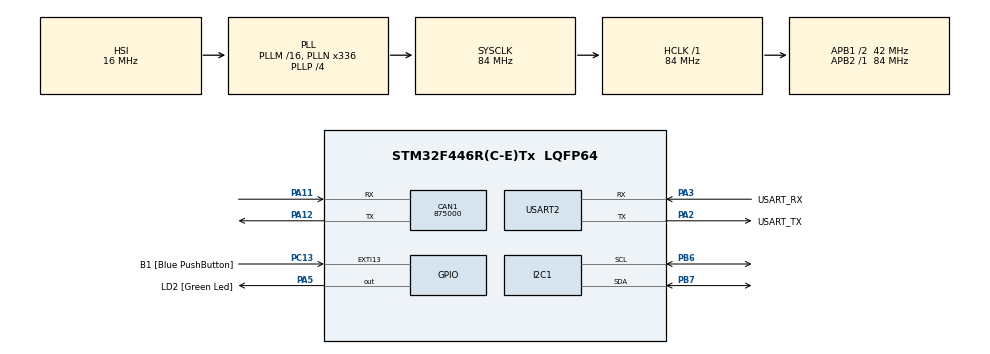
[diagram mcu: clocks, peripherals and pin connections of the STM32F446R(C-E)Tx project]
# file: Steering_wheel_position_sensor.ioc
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CAN1.CalculateBaudRate=875000
CAN1.CalculateTimeBit=1142
CAN1.CalculateTimeQuantum=380.95238095238096
Mcu.Family=STM32F4
Mcu.Name=STM32F446R(C-E)Tx
Mcu.Package=LQFP64
NVIC.PriorityGroup=NVIC_PRIORITYGROUP_0
PA11.Mode=CAN_Activate
PA11.Signal=CAN1_RX
PA12.Mode=CAN_Activate
PA12.Signal=CAN1_TX
PA13.GPIO_Label=TMS
PA13.Mode=Serial_Wire
PA13.Signal=SYS_JTMS-SWDIO
PA14.GPIO_Label=TCK
PA14.Mode=Serial_Wire
PA14.Signal=SYS_JTCK-SWCLK
PA2.GPIO_Label=USART_TX
PA2.Mode=Asynchronous
PA2.Signal=USART2_TX
PA3.GPIO_Label=USART_RX
PA3.Mode=Asynchronous
PA3.Signal=USART2_RX
PA5.GPIO_Label=LD2 [Green Led]
PA5.Signal=GPIO_Output
PB3.GPIO_Label=SWO
PB3.Signal=SYS_JTDO-SWO
PB6.Mode=I2C
PB6.Signal=I2C1_SCL
PB7.Mode=I2C
PB7.Signal=I2C1_SDA
PC13.GPIO_Label=B1 [Blue PushButton]
PC13.GPIO_ModeDefaultEXTI=GPIO_MODE_IT_FALLING
PC13.Signal=GPXTI13
PC14-OSC32_IN.Mode=LSE-External-Oscillator
PC14-OSC32_IN.Signal=RCC_OSC32_IN
PC15-OSC32_OUT.Mode=LSE-External-Oscillator
PC15-OSC32_OUT.Signal=RCC_OSC32_OUT
PH0-OSC_IN.Mode=HSE-External-Oscillator
PH0-OSC_IN.Signal=RCC_OSC_IN
PH1-OSC_OUT.Mode=HSE-External-Oscillator
PH1-OSC_OUT.Signal=RCC_OSC_OUT
ProjectManager.HeapSize=0x200
ProjectManager.StackSize=0x400
ProjectManager.TargetToolchain=STM32CubeIDE
RCC.48MHZClocksFreq_Value=84000000
RCC.AHBFreq_Value=84000000
RCC.APB1CLKDivider=RCC_HCLK_DIV2
RCC.APB1Freq_Value=42000000
RCC.APB1TimFreq_Value=84000000
RCC.APB2Freq_Value=84000000
RCC.APB2TimFreq_Value=84000000
RCC.CortexFreq_Value=84000000
RCC.FLatency-AdvancedSettings=FLASH_LATENCY_2
RCC.HCLKFreq_Value=84000000
RCC.HSE_VALUE=8000000
RCC.HSI_VALUE=16000000
RCC.PLLN=336
RCC.PLLP=RCC_PLLP_DIV4
RCC.SYSCLKFreq_VALUE=84000000
RCC.SYSCLKSource=RCC_SYSCLKSOURCE_PLLCLK
RCC.USBFreq_Value=168000000
RCC.VCOOutputFreq_Value=336000000
USART2.VirtualMode=VM_ASYNC
board=NUCLEO-F446RE

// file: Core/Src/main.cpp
/* USER CODE BEGIN Header */
/**
  ******************************************************************************
  * @file           : main.c
  * @brief          : Main program body
  ******************************************************************************
  * @attention
  *
  * Copyright (c) 2022 STMicroelectronics.
  * All rights reserved.
  *
  * This software is licensed under terms that can be found in the LICENSE file
  * in the root directory of this software component.
  * If no LICENSE file comes with this software, it is provided AS-IS.
  *
  ******************************************************************************
  */
/* USER CODE END Header */
#include "main.h"
#include <stdio.h>
#include <string.h>
#include "PUTM_EV_CAN_LIBRARY/lib/can_interface.hpp"

 CAN_HandleTypeDef hcan1;

I2C_HandleTypeDef hi2c1;

UART_HandleTypeDef huart2;

void SystemClock_Config(void);
static void MX_GPIO_Init(void);
static void MX_USART2_UART_Init(void);
static void MX_I2C1_Init(void);
static void MX_CAN1_Init(void);

/* USER CODE BEGIN 0 */
void SystemClock_Config(void);
static void MX_GPIO_Init(void);
static void MX_USART2_UART_Init(void);
static void MX_I2C1_Init(void);

/* USER CODE BEGIN PFP */

/* USER CODE END PFP */

/* Private user code ---------------------------------------------------------*/
/* USER CODE BEGIN 0 */

int getAngle(uint8_t AS5601_ADR, uint8_t TxData1, uint8_t TxData2, uint8_t LB_DATA, uint8_t HB_DATA, uint16_t COM_DATA, uint8_t DELAY){
	HAL_StatusTypeDef ret;

	// Request lower byte
	ret = HAL_I2C_Master_Transmit(&hi2c1, AS5601_ADR, &TxData1, 1, DELAY);
			if (ret != HAL_OK){
				Error_Handler();

			} else {
	ret = HAL_I2C_Master_Receive(&hi2c1, AS5601_ADR, &LB_DATA, 1, DELAY);
			if (ret != HAL_OK){
				Error_Handler();
			}
		  }

	// Request higher byte
	ret = HAL_I2C_Master_Transmit(&hi2c1, AS5601_ADR, &TxData2, 1, DELAY);
		  	if (ret != HAL_OK){
		  		Error_Handler();

		  } else {
	ret = HAL_I2C_Master_Receive(&hi2c1, AS5601_ADR, &HB_DATA, 1, DELAY);
			if (ret != HAL_OK){
				Error_Handler();
			}
		  }
	//Combine bytes
	COM_DATA = HB_DATA << 8;
	COM_DATA = COM_DATA | LB_DATA;

	return COM_DATA;

}
/* USER CODE END 0 */

int main(void)
{

  /* MCU Configuration--------------------------------------------------------*/

  /* Reset of all peripherals, Initializes the Flash interface and the Systick. */
  HAL_Init();

  /* Configure the system clock */
  SystemClock_Config();

  /* Initialize all configured peripherals */
  MX_GPIO_Init();
  MX_USART2_UART_Init();
  MX_I2C1_Init();
  MX_CAN1_Init();
  /* USER CODE BEGIN 2 */
  uint8_t buf[12];
  uint16_t angle;

  static const uint8_t AS5601_ADR = 0x36 << 1;
  uint8_t TxData1 = 0x0D;
  uint8_t TxData2 = 0x0C;

  uint8_t LB_DATA;
  uint8_t HB_DATA;
  uint16_t COM_DATA;
  uint8_t DELAY = 10;

  //uint8_t frameCounter = 0;

  /* USER CODE END 2 */

  /* Infinite loop */
  while (1)
  {

	  angle = getAngle(AS5601_ADR, TxData1, TxData2, LB_DATA, HB_DATA, COM_DATA, DELAY);

	  // Send out buffer
      sprintf((char*)buf, "%u \r\n", ((unsigned int)angle));
	  HAL_UART_Transmit(&huart2, buf, strlen((char*)buf), HAL_MAX_DELAY);

	  PUTM_CAN::SWPS_main swpsData{
	  	  .steeringAngle = angle,
	  };
	  PUTM_CAN::Can_tx_message <typeof(swpsData)> swpsFrame  (swpsData,PUTM_CAN::can_tx_header_SWPS_MAIN);
	  auto status = swpsFrame.send(hcan1);
	  if (status != HAL_StatusTypeDef::HAL_OK){
	  	  Error_Handler();
	  }

  }
}

void SystemClock_Config(void)
{
  RCC_OscInitTypeDef RCC_OscInitStruct = {0};
  RCC_ClkInitTypeDef RCC_ClkInitStruct = {0};

  /** Configure the main internal regulator output voltage
  */
  __HAL_RCC_PWR_CLK_ENABLE();
  __HAL_PWR_VOLTAGESCALING_CONFIG(PWR_REGULATOR_VOLTAGE_SCALE3);

  /** Initializes the RCC Oscillators according to the specified parameters
  * in the RCC_OscInitTypeDef structure.
  */
  RCC_OscInitStruct.OscillatorType = RCC_OSCILLATORTYPE_HSI;
  RCC_OscInitStruct.HSIState = RCC_HSI_ON;
  RCC_OscInitStruct.HSICalibrationValue = RCC_HSICALIBRATION_DEFAULT;
  RCC_OscInitStruct.PLL.PLLState = RCC_PLL_ON;
  RCC_OscInitStruct.PLL.PLLSource = RCC_PLLSOURCE_HSI;
  RCC_OscInitStruct.PLL.PLLM = 16;
  RCC_OscInitStruct.PLL.PLLN = 336;
  RCC_OscInitStruct.PLL.PLLP = RCC_PLLP_DIV4;
  RCC_OscInitStruct.PLL.PLLQ = 2;
  RCC_OscInitStruct.PLL.PLLR = 2;
  if (HAL_RCC_OscConfig(&RCC_OscInitStruct) != HAL_OK)
  {
    Error_Handler();
  }

  /** Initializes the CPU, AHB and APB buses clocks
  */
  RCC_ClkInitStruct.ClockType = RCC_CLOCKTYPE_HCLK|RCC_CLOCKTYPE_SYSCLK
                              |RCC_CLOCKTYPE_PCLK1|RCC_CLOCKTYPE_PCLK2;
  RCC_ClkInitStruct.SYSCLKSource = RCC_SYSCLKSOURCE_PLLCLK;
  RCC_ClkInitStruct.AHBCLKDivider = RCC_SYSCLK_DIV1;
  RCC_ClkInitStruct.APB1CLKDivider = RCC_HCLK_DIV2;
  RCC_ClkInitStruct.APB2CLKDivider = RCC_HCLK_DIV1;

  if (HAL_RCC_ClockConfig(&RCC_ClkInitStruct, FLASH_LATENCY_2) != HAL_OK)
  {
    Error_Handler();
  }
}

static void MX_I2C1_Init(void)
{

  hi2c1.Instance = I2C1;
  hi2c1.Init.ClockSpeed = 100000;
  hi2c1.Init.DutyCycle = I2C_DUTYCYCLE_2;
  hi2c1.Init.OwnAddress1 = 0;
  hi2c1.Init.AddressingMode = I2C_ADDRESSINGMODE_7BIT;
  hi2c1.Init.DualAddressMode = I2C_DUALADDRESS_DISABLE;
  hi2c1.Init.OwnAddress2 = 0;
  hi2c1.Init.GeneralCallMode = I2C_GENERALCALL_DISABLE;
  hi2c1.Init.NoStretchMode = I2C_NOSTRETCH_DISABLE;
  if (HAL_I2C_Init(&hi2c1) != HAL_OK)
  {
    Error_Handler();
  }

}

static void MX_USART2_UART_Init(void)
{

  huart2.Instance = USART2;
  huart2.Init.BaudRate = 115200;
  huart2.Init.WordLength = UART_WORDLENGTH_8B;
  huart2.Init.StopBits = UART_STOPBITS_1;
  huart2.Init.Parity = UART_PARITY_NONE;
  huart2.Init.Mode = UART_MODE_TX_RX;
  huart2.Init.HwFlowCtl = UART_HWCONTROL_NONE;
  huart2.Init.OverSampling = UART_OVERSAMPLING_16;
  if (HAL_UART_Init(&huart2) != HAL_OK)
  {
    Error_Handler();
  }

}

static void MX_GPIO_Init(void)
{
  GPIO_InitTypeDef GPIO_InitStruct = {0};

  /* GPIO Ports Clock Enable */
  __HAL_RCC_GPIOC_CLK_ENABLE();
  __HAL_RCC_GPIOH_CLK_ENABLE();
  __HAL_RCC_GPIOA_CLK_ENABLE();
  __HAL_RCC_GPIOB_CLK_ENABLE();

  /*Configure GPIO pin Output Level */
  HAL_GPIO_WritePin(LD2_GPIO_Port, LD2_Pin, GPIO_PIN_RESET);

  /*Configure GPIO pin : B1_Pin */
  GPIO_InitStruct.Pin = B1_Pin;
  GPIO_InitStruct.Mode = GPIO_MODE_IT_FALLING;
  GPIO_InitStruct.Pull = GPIO_NOPULL;
  HAL_GPIO_Init(B1_GPIO_Port, &GPIO_InitStruct);

  /*Configure GPIO pin : LD2_Pin */
  GPIO_InitStruct.Pin = LD2_Pin;
  GPIO_InitStruct.Mode = GPIO_MODE_OUTPUT_PP;
  GPIO_InitStruct.Pull = GPIO_NOPULL;
  GPIO_InitStruct.Speed = GPIO_SPEED_FREQ_LOW;
  HAL_GPIO_Init(LD2_GPIO_Port, &GPIO_InitStruct);

}

/* USER CODE BEGIN 4 */
static void MX_CAN1_Init(void)
{

  /* USER CODE BEGIN CAN1_Init 0 */

  /* USER CODE END CAN1_Init 0 */

  /* USER CODE BEGIN CAN1_Init 1 */

  /* USER CODE END CAN1_Init 1 */
  hcan1.Instance = CAN1;
  hcan1.Init.Prescaler = 16;
  hcan1.Init.Mode = CAN_MODE_NORMAL;
  hcan1.Init.SyncJumpWidth = CAN_SJW_1TQ;
  hcan1.Init.TimeSeg1 = CAN_BS1_1TQ;
  hcan1.Init.TimeSeg2 = CAN_BS2_1TQ;
  hcan1.Init.TimeTriggeredMode = DISABLE;
  hcan1.Init.AutoBusOff = DISABLE;
  hcan1.Init.AutoWakeUp = DISABLE;
  hcan1.Init.AutoRetransmission = DISABLE;
  hcan1.Init.ReceiveFifoLocked = DISABLE;
  hcan1.Init.TransmitFifoPriority = DISABLE;
  if (HAL_CAN_Init(&hcan1) != HAL_OK)
  {
    Error_Handler();
  }
}
/* USER CODE END 4 */

void Error_Handler(void)
{
  __disable_irq();
  while (1)
  {
  }
}
